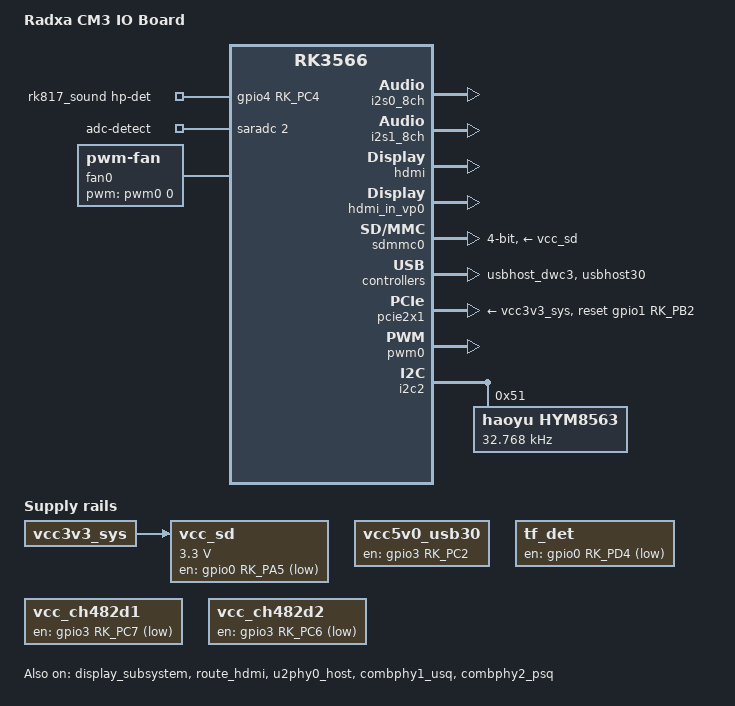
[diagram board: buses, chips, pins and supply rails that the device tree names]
// SPDX-License-Identifier: (GPL-2.0+ OR MIT)
/*
 * Copyright (c) 2020 Rockchip Electronics Co., Ltd.
 * Copyright (c) 2022 Radxa Limited.
 *
 */

/dts-v1/;

#include "rk3566-radxa-cm3.dtsi"

/ {
	model = "Radxa CM3 IO Board";
	compatible = "radxa,cm3-io", "radxa,cm3", "rockchip,rk3566";

	hdmi_sound: hdmi-sound {
		compatible = "simple-audio-card";
		simple-audio-card,format = "i2s";
		simple-audio-card,mclk-fs = <128>;
		simple-audio-card,name = "rockchip-hdmi0";

		simple-audio-card,cpu {
				sound-dai = <&i2s0_8ch>;
		};
		simple-audio-card,codec {
				sound-dai = <&hdmi>;
		};
	};

	vcc5v0_usb30: vcc5v0-usb30-regulator {
		compatible = "regulator-fixed";
		enable-active-high;
		gpio = <&gpio3 RK_PC2 GPIO_ACTIVE_HIGH>;
		pinctrl-names = "default";
		pinctrl-0 = <&vcc5v0_usb30_en>;
		regulator-name = "vcc5v0_usb30";
		regulator-always-on;
		regulator-boot-on;
	};

	vcc_sd: sdmmc-regulator {
		compatible = "regulator-fixed";
		gpio = <&gpio0 RK_PA5 GPIO_ACTIVE_LOW>;
		pinctrl-names = "default";
		pinctrl-0 = <&sdmmc_pwren>;
		regulator-name = "vcc_sd";
		regulator-min-microvolt = <3300000>;
		regulator-max-microvolt = <3300000>;
		startup-delay-us = <100000>;
		vin-supply = <&vcc3v3_sys>;
	};

	tf_det: tf-det-regulator {
		compatible = "regulator-fixed";
		enable-active-low;
		gpio = <&gpio0 RK_PD4 GPIO_ACTIVE_LOW>;
		pinctrl-names = "default";
		pinctrl-0 = <&tf_det_en>;
		regulator-name = "tf_det";
		regulator-always-on;
		regulator-boot-on;
	};

	rk817_sound: rk817-sound {
		status = "okay";
		compatible = "rockchip,multicodecs-card";
		rockchip,card-name = "rockchip-rk817";
		rockchip,format = "i2s";
		rockchip,mclk-fs = <256>;
		rockchip,cpu = <&i2s1_8ch>;
		rockchip,codec = <&rk817_codec>;
		poll-interval = <100>;
		io-channels = <&saradc 2>;
		io-channel-names = "adc-detect";
		keyup-threshold-microvolt = <1800000>;
		pinctrl-0 = <&hp_det>;
		pinctrl-names = "default";
		hp-det-gpio = <&gpio4 RK_PC4 GPIO_ACTIVE_HIGH>;
		play-pause-key {
			label = "playpause";
			linux,code = <164>;
			press-threshold-microvolt = <2000>;
		};
	};

	fan0: pwm-fan {
		compatible = "pwm-fan";
		#cooling-cells = <2>;
		cooling-levels = <0 64 128 192 255>;
		pwms = <&pwm0 0 10000 0>;
	};

	vcc_ch482d1: vcc-ch482d1 {
		compatible = "regulator-fixed";
		gpio = <&gpio3 RK_PC7 GPIO_ACTIVE_LOW>;
		pinctrl-names = "default";
		pinctrl-0 = <&ch482d_en1>;
		regulator-name = "vcc_ch482d1";
		regulator-always-on;
		regulator-boot-on;
		status = "okay";
	};

	vcc_ch482d2: vcc-ch482d2 {
		compatible = "regulator-fixed";
		gpio = <&gpio3 RK_PC6 GPIO_ACTIVE_LOW>;
		pinctrl-names = "default";
		pinctrl-0 = <&ch482d_en2>;
		regulator-name = "vcc_ch482d2";
		regulator-always-on;
		regulator-boot-on;
		status = "okay";
	};

};

&gpio_leds {
	pi-led-green {
		gpios = <&gpio4 4 GPIO_ACTIVE_LOW>;
		linux,default-trigger = "heartbeat";
		default-state = "on";
		pinctrl-0 = <&pi_led>;
	};

	pwr-led-red {
		gpios = <&gpio4 15 GPIO_ACTIVE_LOW>;
		linux,default-trigger = "default-on";
		pinctrl-0 = <&pwr_led>;
	};
};

&i2s0_8ch {
	status = "okay";
};

&i2s1_8ch {
	rockchip,clk-trcm = <1>;
	pinctrl-0 = <&i2s1m0_sclktx
		     &i2s1m0_lrcktx
		     &i2s1m0_sdi0
		     &i2s1m0_sdo0>;
	status = "okay";
};

&display_subsystem {
    status = "okay";
};

&hdmi {
	status = "okay";
	preset_max_hdisplay = <1920>;
	preset_max_vdisplay = <1080>;
	preset_as_preferred;
};

&hdmi_in_vp0 {
	status = "okay";
};

&hdmi_in_vp1 {
	status = "disabled";
};

&hdmi_sound {
	status = "okay";
};

&route_hdmi {
	status = "okay";
	connect = <&vp0_out_hdmi>;
};

&sdmmc0 {
	max-frequency = <150000000>;
	supports-sd;
	bus-width = <4>;
	cap-mmc-highspeed;
	cap-sd-highspeed;
	disable-wp;
	sd-uhs-sdr104;
	vmmc-supply = <&vcc_sd>;
	vqmmc-supply = <&vccio_sd>;
	pinctrl-names = "default";
	pinctrl-0 = <&sdmmc0_bus4 &sdmmc0_clk &sdmmc0_cmd &sdmmc0_det>;
	status = "okay";
};

&u2phy0_host {
	phy-supply = <&vcc5v0_usb30>;
	status = "okay";
};

&usbhost_dwc3 {
	status = "okay";
};

&usbhost30 {
	status = "okay";
};

&combphy1_usq {
	status = "okay";
};

&combphy2_psq {
	status = "okay";
};

&pcie2x1 {
	status = "okay";
	reset-gpios = <&gpio1 RK_PB2 GPIO_ACTIVE_HIGH>;
	vpcie3v3-supply = <&vcc3v3_sys>;
	pinctrl-0 = <&pcie20m2_pins>;
};

&pwm0 {
	pinctrl-0 = <&pwm0m1_pins>;
	status = "okay";
};

&i2c2 {
	status = "okay";
	hym8563: hym8563@51 {
		compatible = "haoyu,hym8563";
		status = "okay";
		reg = <0x51>;
		#clock-cells = <0>;
		clock-frequency = <32768>;
		clock-output-names = "hym8563";
	};
};

&rk817 {
	rtc {
		status = "disabled";
	};
};

&soc_thermal {
	sustainable-power = <5000>; /* milliwatts */
	cooling-maps {
		map2 {
			trip = <&target>;
			cooling-device =
				<&fan0 THERMAL_NO_LIMIT THERMAL_NO_LIMIT>;
			contribution = <8192>;
		};
		map3 {
			trip = <&threshold>;
			cooling-device =
				<&fan0 THERMAL_NO_LIMIT THERMAL_NO_LIMIT>;
			contribution = <8192>;
		};
	};
};

&threshold {
	temperature = <60000>;
};

&pinctrl {
	headphone {
		hp_det: hp-det {
			rockchip,pins = <4 RK_PC4 RK_FUNC_GPIO &pcfg_pull_up>;
		};
	};

	usb {
		vcc5v0_usb30_en: vcc5v0-host-en {
			rockchip,pins = <3 RK_PC2 RK_FUNC_GPIO &pcfg_pull_none>;
		};
	};

	leds {
		pi_led: pi-led{
			rockchip,pins = <4 RK_PA4 RK_FUNC_GPIO &pcfg_pull_none>;
		};

		pwr_led: pwr-led{
			rockchip,pins = <4 RK_PB7 RK_FUNC_GPIO &pcfg_pull_none>;
		};
	};

	sdcard {
		sdmmc_pwren: sdmmc-pwren {
			rockchip,pins = <0 RK_PA5 RK_FUNC_GPIO &pcfg_pull_none>;
		};

		tf_det_en: tf-det-en {
			rockchip,pins = <0 RK_PD4 RK_FUNC_GPIO &pcfg_output_low>;
		};
	};

	ch482d {
		ch482d_en1: ch482d-en1 {
			rockchip,pins = <3 RK_PC7 RK_FUNC_GPIO &pcfg_pull_none>;
		};

		ch482d_en2: ch482d-en2 {
			rockchip,pins = <3 RK_PC6 RK_FUNC_GPIO &pcfg_pull_none>;
		};
	};

	gmac1 {
		gmac1m0_miim: gmac1m0-miim {
			rockchip,pins =
				/* gmac1_mdcm0 */
				<3 RK_PC4 3 &pcfg_pull_none_drv_level_15>,
				/* gmac1_mdiom0 */
				<3 RK_PC5 3 &pcfg_pull_none_drv_level_15>;
		};

		gmac1m0_rx_bus2: gmac1m0-rx-bus2 {
			rockchip,pins =
				/* gmac1_rxd0m0 */
				<3 RK_PB1 3 &pcfg_pull_none_drv_level_15>,
				/* gmac1_rxd1m0 */
				<3 RK_PB2 3 &pcfg_pull_none_drv_level_15>,
				/* gmac1_rxdvcrsm0 */
				<3 RK_PB3 3 &pcfg_pull_none_drv_level_15>;
		};

		gmac1m0_tx_bus2: gmac1m0-tx-bus2 {
			rockchip,pins =
				/* gmac1_txd0m0 */
				<3 RK_PB5 3 &pcfg_pull_none_drv_level_15>,
				/* gmac1_txd1m0 */
				<3 RK_PB6 3 &pcfg_pull_none_drv_level_15>,
				/* gmac1_txenm0 */
				<3 RK_PB7 3 &pcfg_pull_none_drv_level_15>;
		};

		gmac1m0_rgmii_clk: gmac1m0-rgmii-clk {
			rockchip,pins =
				/* gmac1_rxclkm0 */
				<3 RK_PA7 3 &pcfg_pull_none_drv_level_15>,
				/* gmac1_txclkm0 */
				<3 RK_PA6 3 &pcfg_pull_none_drv_level_15>;
		};

		gmac1m0_rgmii_bus: gmac1m0-rgmii-bus {
			rockchip,pins =
				/* gmac1_rxd2m0 */
				<3 RK_PA4 3 &pcfg_pull_none_drv_level_15>,
				/* gmac1_rxd3m0 */
				<3 RK_PA5 3 &pcfg_pull_none_drv_level_15>,
				/* gmac1_txd2m0 */
				<3 RK_PA2 3 &pcfg_pull_none_drv_level_15>,
				/* gmac1_txd3m0 */
				<3 RK_PA3 3 &pcfg_pull_none_drv_level_15>;
		};

		gmac1m0_clkinout: gmac1m0-clkinout {
			rockchip,pins =
				/* gmac1_mclkinoutm0 */
				<3 RK_PC0 3 &pcfg_pull_none_drv_level_15>;
		};
	};
};

&gpio0 {
	gpio-line-names =
		/* GPIO0_A0-A3 */
		"", "", "", "",
		/* GPIO0_A4-A7 */
		"", "", "", "",

		/* GPIO0_B0-B3 */
		"", "", "", "",
		/* GPIO0_B4-B7 */
		"", "PIN_5", "PIN_3", "PIN_13",

		/* GPIO0_C0-C3 */
		"", "", "PIN_37", "PIN_15",
		/* GPIO0_C4-C7 */
		"", "PIN_31", "PIN_33", "PIN_11",

		/* GPIO0_D0-D3 */
		"PIN_10", "PIN_8", "", "",
		/* GPIO0_D4-D7 */
		"", "", "", "";
};

&gpio1 {
	gpio-line-names =
		/* GPIO1_A0-A3 */
		"", "", "", "",
		/* GPIO1_A4-A7 */
		"", "", "", "",

		/* GPIO1_B0-B3 */
		"", "", "", "",
		/* GPIO1_B4-B7 */
		"", "", "", "",

		/* GPIO1_C0-C3 */
		"", "", "", "",
		/* GPIO1_C4-C7 */
		"", "", "", "",

		/* GPIO1_D0-D3 */
		"", "", "", "",
		/* GPIO1_D4-D7 */
		"", "", "", "";
};

&gpio2 {
	gpio-line-names =
		/* GPIO2_A0-A3 */
		"", "", "", "",
		/* GPIO2_A4-A7 */
		"", "", "", "",

		/* GPIO2_B0-B3 */
		"", "", "", "",
		/* GPIO2_B4-B7 */
		"", "", "", "",

		/* GPIO2_C0-C3 */
		"", "", "", "",
		/* GPIO2_C4-C7 */
		"", "", "", "",

		/* GPIO2_D0-D3 */
		"", "", "", "",
		/* GPIO2_D4-D7 */
		"", "", "", "";
};

&gpio3 {
	gpio-line-names =
		/* GPIO3_A0-A3 */
		"", "", "", "",
		/* GPIO3_A4-A7 */
		"", "", "", "",

		/* GPIO3_B0-B3 */
		"", "", "", "",
		/* GPIO3_B4-B7 */
		"", "", "", "",

		/* GPIO3_C0-C3 */
		"", "", "", "",
		/* GPIO3_C4-C7 */
		"", "", "PIN_22", "PIN_12",

		/* GPIO3_D0-D3 */
		"PIN_35", "PIN_40", "PIN_38", "PIN_18",
		/* GPIO3_D4-D7 */
		"PIN_16", "PIN_7", "", "";
};

&gpio4 {
	gpio-line-names =
		/* GPIO4_A0-A3 */
		"", "", "", "",
		/* GPIO4_A4-A7 */
		"", "", "PIN_24", "PIN_36",

		/* GPIO4_B0-B3 */
		"PIN_21", "PIN_29", "PIN_19", "PIN_23",
		/* GPIO4_B4-B7 */
		"PIN_27", "PIN_28", "", "",

		/* GPIO4_C0-C3 */
		"PIN_32", "", "", "",
		/* GPIO4_C4-C7 */
		"", "", "", "",

		/* GPIO4_D0-D3 */
		"", "", "", "",
		/* GPIO4_D4-D7 */
		"", "", "", "";
};
